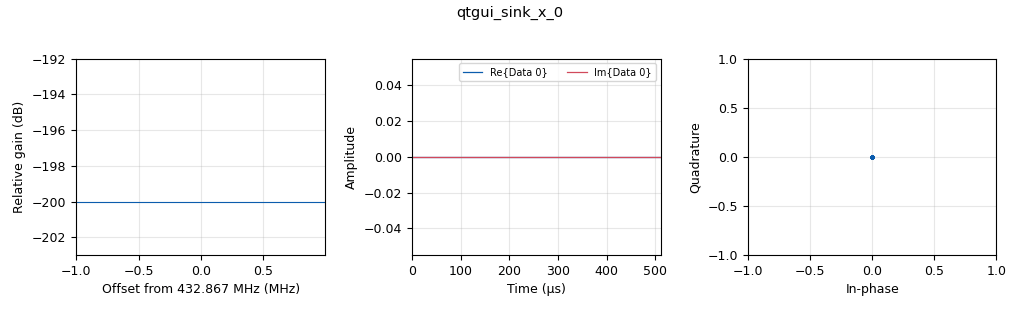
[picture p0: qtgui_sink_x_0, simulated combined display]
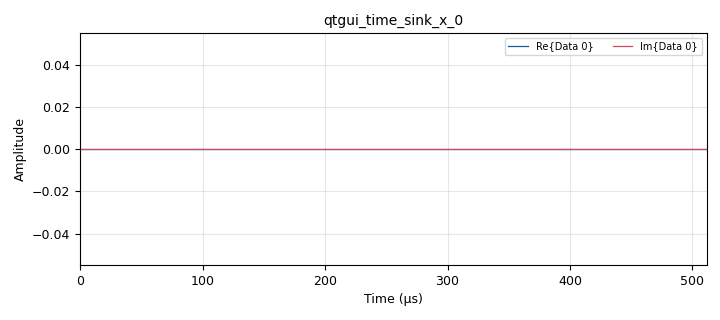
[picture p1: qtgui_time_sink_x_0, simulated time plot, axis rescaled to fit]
<?xml version='1.0' encoding='utf-8'?>
<?grc format='1' created='3.7.9'?>
<flow_graph>
<block>
<key>options</key>
<param><key>id</key><value>transmit</value></param>
<param><key>category</key><value>Custom</value></param>
<param><key>generate_options</key><value>qt_gui</value></param>
</block>
<block>
<key>variable</key>
<param><key>id</key><value>baseband_freq</value></param>
<param><key>value</key><value>676</value></param>
</block>
<block>
<key>variable</key>
<param><key>id</key><value>carrier_freq</value></param>
<param><key>value</key><value>432.867e6</value></param>
</block>
<block>
<key>variable</key>
<param><key>id</key><value>packet</value></param>
<param><key>value</key><value>"0100000100000101000101010"</value></param>
</block>
<block>
<key>variable</key>
<param><key>id</key><value>samp_rate</value></param>
<param><key>value</key><value>2e6</value></param>
</block>
<block>
<key>variable</key>
<param><key>id</key><value>samples_per_symbol</value></param>
<param><key>value</key><value>int (samp_rate / baseband_freq)</value></param>
</block>
<block>
<key>variable</key>
<param><key>id</key><value>spacing</value></param>
<param><key>value</key><value>3</value></param>
</block>
<block>
<key>blocks_float_to_complex</key>
<param><key>id</key><value>blocks_float_to_complex_0</value></param>
</block>
<block>
<key>blocks_moving_average_xx</key>
<param><key>id</key><value>blocks_moving_average_xx_0</value></param>
<param><key>length</key><value>samples_per_symbol / 4</value></param>
<param><key>max_iter</key><value>4000</value></param>
<param><key>scale</key><value>1</value></param>
<param><key>type</key><value>float</value></param>
</block>
<block>
<key>blocks_multiply_const_vxx</key>
<param><key>id</key><value>blocks_multiply_const_vxx_0</value></param>
<param><key>const</key><value>1</value></param>
<param><key>type</key><value>float</value></param>
</block>
<block>
<key>blocks_throttle</key>
<param><key>id</key><value>blocks_throttle_0</value></param>
<param><key>_enabled</key><value>0</value></param>
<param><key>samples_per_second</key><value>samp_rate</value></param>
<param><key>type</key><value>complex</value></param>
</block>
<block>
<key>blocks_uchar_to_float</key>
<param><key>id</key><value>blocks_uchar_to_float_0</value></param>
</block>
<block>
<key>blocks_unpack_k_bits_bb</key>
<param><key>id</key><value>blocks_unpack_k_bits_bb_0</value></param>
<param><key>k</key><value>4</value></param>
</block>
<block>
<key>blocks_vector_source_x</key>
<param><key>id</key><value>blocks_vector_source_x_0</value></param>
<param><key>type</key><value>byte</value></param>
<param><key>repeat</key><value>True</value></param>
<param><key>vector</key><value>[ int (x) for x in packet ] + [ 2 ] * spacing</value></param>
</block>
<block>
<key>digital_map_bb</key>
<param><key>id</key><value>digital_map_bb_0</value></param>
<param><key>map</key><value>[0x8, 0xE, 0x0]</value></param>
</block>
<block>
<key>osmosdr_sink</key>
<param><key>id</key><value>osmosdr_sink_0</value></param>
<param><key>bb_gain0</key><value>20</value></param>
<param><key>freq0</key><value>carrier_freq</value></param>
<param><key>if_gain0</key><value>20</value></param>
<param><key>gain0</key><value>10</value></param>
<param><key>args</key><value></value></param>
<param><key>type</key><value>fc32</value></param>
<param><key>sample_rate</key><value>samp_rate</value></param>
<param><key>sync</key><value></value></param>
</block>
<block>
<key>qtgui_sink_x</key>
<param><key>id</key><value>qtgui_sink_x_0</value></param>
<param><key>bw</key><value>samp_rate</value></param>
<param><key>fc</key><value>carrier_freq</value></param>
<param><key>freqchangevar</key><value>None</value></param>
<param><key>fftsize</key><value>1024</value></param>
<param><key>showports</key><value>True</value></param>
<param><key>showrf</key><value>True</value></param>
<param><key>type</key><value>complex</value></param>
<param><key>wintype</key><value>firdes.WIN_BLACKMAN_hARRIS</value></param>
</block>
<block>
<key>qtgui_time_sink_x</key>
<param><key>id</key><value>qtgui_time_sink_x_0</value></param>
<param><key>ctrlpanel</key><value>True</value></param>
<param><key>color1</key><value>"blue"</value></param>
<param><key>label1</key><value></value></param>
<param><key>color2</key><value>"red"</value></param>
<param><key>label2</key><value></value></param>
<param><key>size</key><value>1024</value></param>
<param><key>srate</key><value>samp_rate</value></param>
<param><key>type</key><value>complex</value></param>
</block>
<block>
<key>rational_resampler_xxx</key>
<param><key>id</key><value>rational_resampler_xxx_0</value></param>
<param><key>decim</key><value>1</value></param>
<param><key>fbw</key><value>4</value></param>
<param><key>interp</key><value>samples_per_symbol / 4</value></param>
<param><key>taps</key><value>1</value></param>
<param><key>type</key><value>fff</value></param>
</block>
<connection><source_block_id>blocks_float_to_complex_0</source_block_id><sink_block_id>blocks_throttle_0</sink_block_id><source_key>0</source_key><sink_key>0</sink_key></connection>
<connection><source_block_id>blocks_float_to_complex_0</source_block_id><sink_block_id>osmosdr_sink_0</sink_block_id><source_key>0</source_key><sink_key>0</sink_key></connection>
<connection><source_block_id>blocks_float_to_complex_0</source_block_id><sink_block_id>qtgui_sink_x_0</sink_block_id><source_key>0</source_key><sink_key>0</sink_key></connection>
<connection><source_block_id>blocks_float_to_complex_0</source_block_id><sink_block_id>qtgui_time_sink_x_0</sink_block_id><source_key>0</source_key><sink_key>0</sink_key></connection>
<connection><source_block_id>blocks_moving_average_xx_0</source_block_id><sink_block_id>blocks_multiply_const_vxx_0</sink_block_id><source_key>0</source_key><sink_key>0</sink_key></connection>
<connection><source_block_id>blocks_multiply_const_vxx_0</source_block_id><sink_block_id>blocks_float_to_complex_0</sink_block_id><source_key>0</source_key><sink_key>0</sink_key></connection>
<connection><source_block_id>blocks_uchar_to_float_0</source_block_id><sink_block_id>rational_resampler_xxx_0</sink_block_id><source_key>0</source_key><sink_key>0</sink_key></connection>
<connection><source_block_id>blocks_unpack_k_bits_bb_0</source_block_id><sink_block_id>blocks_uchar_to_float_0</sink_block_id><source_key>0</source_key><sink_key>0</sink_key></connection>
<connection><source_block_id>blocks_vector_source_x_0</source_block_id><sink_block_id>digital_map_bb_0</sink_block_id><source_key>0</source_key><sink_key>0</sink_key></connection>
<connection><source_block_id>digital_map_bb_0</source_block_id><sink_block_id>blocks_unpack_k_bits_bb_0</sink_block_id><source_key>0</source_key><sink_key>0</sink_key></connection>
<connection><source_block_id>rational_resampler_xxx_0</source_block_id><sink_block_id>blocks_moving_average_xx_0</sink_block_id><source_key>0</source_key><sink_key>0</sink_key></connection>
</flow_graph>
